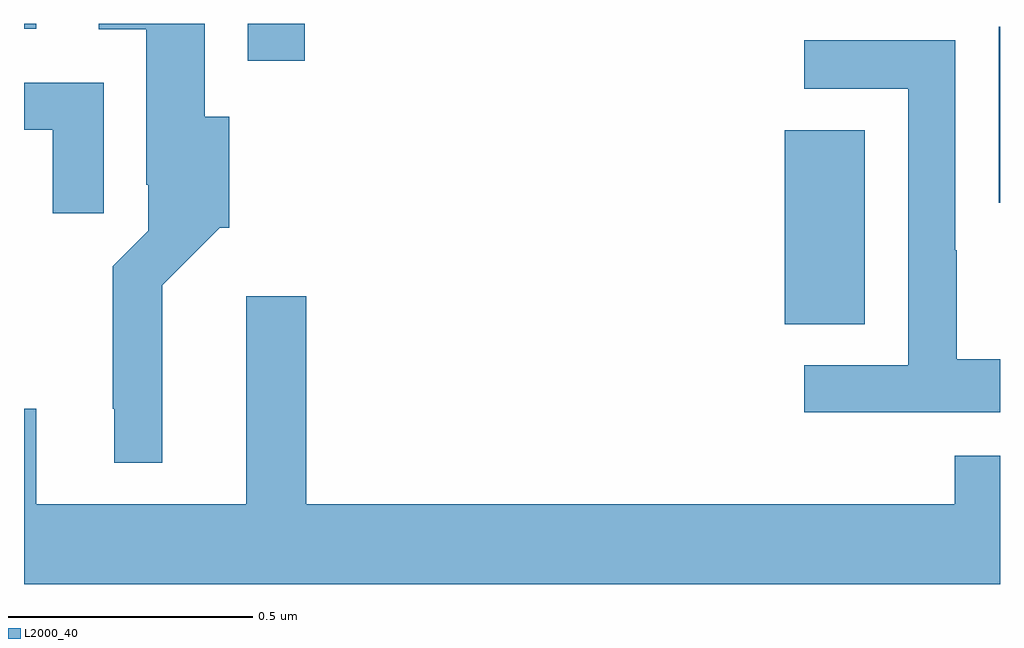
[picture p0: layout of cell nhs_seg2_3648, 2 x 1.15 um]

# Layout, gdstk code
import gdstk
lib = gdstk.Library(unit=1e-6, precision=1e-09)
def R(c, l, rs):  # rectangles x0, y0, x1, y1
    for r in rs: c.add(gdstk.rectangle(r[:2], r[2:], *l))
def P(c, l, *ps):  # polygons
    for p in ps: c.add(gdstk.Polygon(p, *l))
L2000_40 = (2000, 40)

nhs_seg2_3648 = lib.new_cell('nhs_seg2_3648')
R(nhs_seg2_3648, L2000_40, [(157.559,632.185,157.723,632.582), (157.997,632.433,158,632.794), (156.459,632.724,156.575,632.8), (156,632.79,156.025,632.8)])
P(nhs_seg2_3648, L2000_40, [(156.283,632.264),(156.401,632.382),(156.421,632.382),(156.421,632.61),(156.37,632.61),(156.37,632.8),(156.153,632.8),(156.153,632.789),(156.251,632.789),(156.251,632.47),(156.255,632.47),(156.255,632.376),(156.182,632.303),(156.182,632.011),(156.185,632.011),(156.185,631.901),(156.283,631.901)],
  [(158,632.113),(157.911,632.113),(157.911,632.336),(157.908,632.336),(157.908,632.766),(157.599,632.766),(157.599,632.667),(157.812,632.667),(157.812,632.1),(157.599,632.1),(157.599,632.004),(158,632.004)],
  [(156.163,632.679),(156,632.679),(156,632.583),(156.059,632.583),(156.059,632.412),(156.163,632.412)],
  [(158,631.915),(157.907,631.915),(157.907,631.816),(156.578,631.816),(156.578,632.242),(156.455,632.242),(156.455,631.816),(156.025,631.816),(156.025,632.011),(156,632.011),(156,631.652),(158,631.652)])

lib.write_gds('nhs_seg2_3648.gds')
